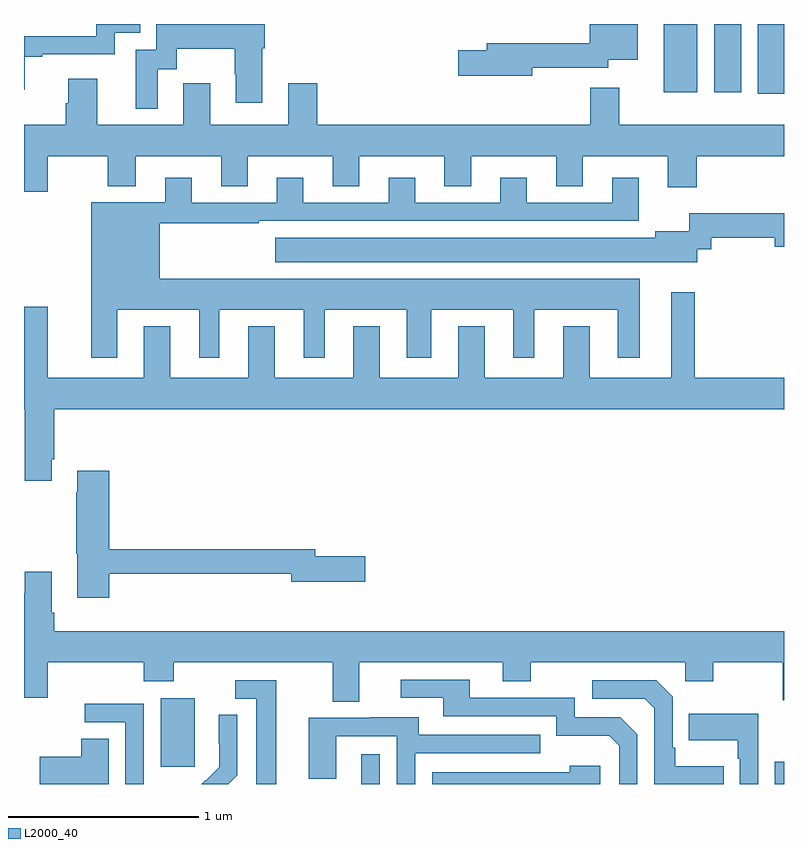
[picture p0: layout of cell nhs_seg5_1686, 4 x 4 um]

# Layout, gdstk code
import gdstk
lib = gdstk.Library(unit=1e-6, precision=1e-09)
def R(c, l, rs):  # rectangles x0, y0, x1, y1
    for r in rs: c.add(gdstk.rectangle(r[:2], r[2:], *l))
def P(c, l, *ps):  # polygons
    for p in ps: c.add(gdstk.Polygon(p, *l))
L2000_40 = (2000, 40)

nhs_seg5_1686 = lib.new_cell('nhs_seg5_1686')
R(nhs_seg5_1686, L2000_40, [(214.775,842.799,214.872,842.956), (216.951,842.799,217,842.917), (213.719,842.889,213.898,843.25), (216.863,846.432,217,846.799), (216.368,846.44,216.544,846.799), (216.632,846.44,216.775,846.799)])
P(nhs_seg5_1686, L2000_40, [(215.674,846.57),(216.076,846.57),(216.076,846.611),(216.229,846.611),(216.229,846.799),(215.978,846.799),(215.978,846.698),(215.435,846.698),(215.435,846.662),(215.286,846.662),(215.286,846.527),(215.674,846.527)],
  [(213.703,846.562),(213.805,846.562),(213.805,846.668),(214.108,846.668),(214.108,846.534),(214.115,846.534),(214.115,846.384),(214.255,846.384),(214.255,846.672),(214.268,846.672),(214.268,846.799),(213.696,846.799),(213.696,846.663),(213.587,846.663),(213.587,846.354),(213.703,846.354)],
  [(213.003,846.627),(213.097,846.627),(213.097,846.639),(213.477,846.639),(213.477,846.753),(213.611,846.753),(213.611,846.799),(213.381,846.799),(213.381,846.735),(213,846.735),(213,846.452),(213.003,846.452)],
  [(213.124,846.104),(213.442,846.104),(213.442,845.945),(213.589,845.945),(213.589,846.104),(214.037,846.104),(214.037,845.944),(214.177,845.944),(214.177,846.104),(214.625,846.104),(214.625,845.944),(214.765,845.944),(214.765,846.104),(215.213,846.104),(215.213,845.944),(215.353,845.944),(215.353,846.104),(215.801,846.104),(215.801,845.944),(215.941,845.944),(215.941,846.104),(216.389,846.104),(216.389,845.94),(216.542,845.94),(216.542,846.104),(217,846.104),(217,846.268),(216.133,846.268),(216.133,846.463),(215.981,846.463),(215.981,846.268),(214.544,846.268),(214.544,846.487),(214.391,846.487),(214.391,846.268),(213.979,846.268),(213.979,846.487),(213.839,846.487),(213.839,846.268),(213.385,846.268),(213.385,846.511),(213.233,846.511),(213.233,846.381),(213.221,846.381),(213.221,846.268),(213,846.268),(213,845.916),(213.124,845.916)],
  [(213.49,845.294),(213.923,845.294),(213.923,845.043),(214.027,845.043),(214.027,845.294),(214.472,845.294),(214.472,845.043),(214.582,845.043),(214.582,845.294),(215.015,845.294),(215.015,845.043),(215.143,845.043),(215.143,845.294),(215.576,845.294),(215.576,845.043),(215.686,845.043),(215.686,845.294),(216.125,845.294),(216.125,845.043),(216.241,845.043),(216.241,845.458),(213.715,845.458),(213.715,845.751),(214.235,845.751),(214.235,845.763),(216.235,845.763),(216.235,845.989),(216.095,845.989),(216.095,845.859),(215.647,845.859),(215.647,845.989),(215.507,845.989),(215.507,845.859),(215.059,845.859),(215.059,845.989),(214.919,845.989),(214.919,845.859),(214.471,845.859),(214.471,845.989),(214.331,845.989),(214.331,845.859),(213.883,845.859),(213.883,845.989),(213.743,845.989),(213.743,845.86),(213.353,845.86),(213.353,845.043),(213.49,845.043)],
  [(216.544,845.613),(216.616,845.613),(216.616,845.674),(216.95,845.674),(216.95,845.627),(217,845.627),(217,845.803),(216.502,845.803),(216.502,845.709),(216.323,845.709),(216.323,845.674),(214.323,845.674),(214.323,845.546),(216.544,845.546)],
  [(217,844.936),(216.529,844.936),(216.529,845.386),(216.407,845.386),(216.407,844.936),(215.977,844.936),(215.977,845.209),(215.837,845.209),(215.837,844.936),(215.425,844.936),(215.425,845.209),(215.285,845.209),(215.285,844.936),(214.873,844.936),(214.873,845.209),(214.733,845.209),(214.733,844.936),(214.321,844.936),(214.321,845.209),(214.181,845.209),(214.181,844.936),(213.769,844.936),(213.769,845.209),(213.629,845.209),(213.629,844.936),(213.124,844.936),(213.124,845.311),(213,845.311),(213,844.772),(213.005,844.772),(213.005,844.395),(213.145,844.395),(213.145,844.507),(213.158,844.507),(213.158,844.772),(217,844.772)],
  [(213.449,843.906),(214.406,843.906),(214.406,843.863),(214.795,843.863),(214.795,843.998),(214.534,843.998),(214.534,844.034),(213.449,844.034),(213.449,844.447),(213.281,844.447),(213.281,844.334),(213.274,844.334),(213.274,844.011),(213.281,844.011),(213.281,843.78),(213.449,843.78)],
  [(213.005,843.916),(213.005,843.803),(213,843.803),(213,843.252),(213.124,843.252),(213.124,843.44),(213.629,843.44),(213.629,843.341),(213.789,843.341),(213.789,843.44),(214.625,843.44),(214.625,843.232),(214.765,843.232),(214.765,843.44),(215.519,843.44),(215.519,843.341),(215.667,843.341),(215.667,843.44),(216.48,843.44),(216.48,843.341),(216.627,843.341),(216.627,843.44),(216.994,843.44),(216.994,843.241),(217,843.241),(217,843.604),(213.158,843.604),(213.158,843.7),(213.145,843.7),(213.145,843.916)],
  [(216.228,843.06),(216.138,843.15),(215.898,843.15),(215.898,843.252),(215.347,843.252),(215.347,843.348),(214.983,843.348),(214.983,843.252),(215.207,843.252),(215.207,843.156),(215.802,843.156),(215.802,843.053),(216.079,843.053),(216.132,843),(216.132,842.799),(216.228,842.799)],
  [(216.683,842.893),(216.427,842.893),(216.427,842.989),(216.414,842.989),(216.414,843.258),(216.327,843.345),(215.991,843.345),(215.991,843.249),(216.267,843.249),(216.318,843.198),(216.318,842.799),(216.683,842.799)],
  [(214.327,843.345),(214.113,843.345),(214.113,843.249),(214.223,843.249),(214.223,842.799),(214.327,842.799)],
  [(213.63,843.222),(213.321,843.222),(213.321,843.123),(213.534,843.123),(213.534,842.799),(213.63,842.799)],
  [(216.864,843.169),(216.499,843.169),(216.499,843.029),(216.756,843.029),(216.756,842.933),(216.768,842.933),(216.768,842.799),(216.864,842.799)],
  [(214.122,842.846),(214.122,843.164),(214.026,843.164),(214.026,843.01),(214.028,843.01),(214.028,842.888),(213.957,842.817),(213.954,842.82),(213.933,842.799),(214.075,842.799)],
  [(215.058,842.961),(215.717,842.961),(215.717,843.057),(215.077,843.057),(215.077,843.151),(214.823,843.151),(214.823,843.147),(214.499,843.147),(214.499,842.827),(214.644,842.827),(214.644,843.051),(214.962,843.051),(214.962,842.799),(215.058,842.799)],
  [(213.445,843.038),(213.302,843.038),(213.302,842.943),(213.084,842.943),(213.084,842.799),(213.445,842.799)],
  [(216.034,842.896),(215.873,842.896),(215.873,842.862),(215.148,842.862),(215.148,842.799),(216.034,842.799)])

lib.write_gds('nhs_seg5_1686.gds')
